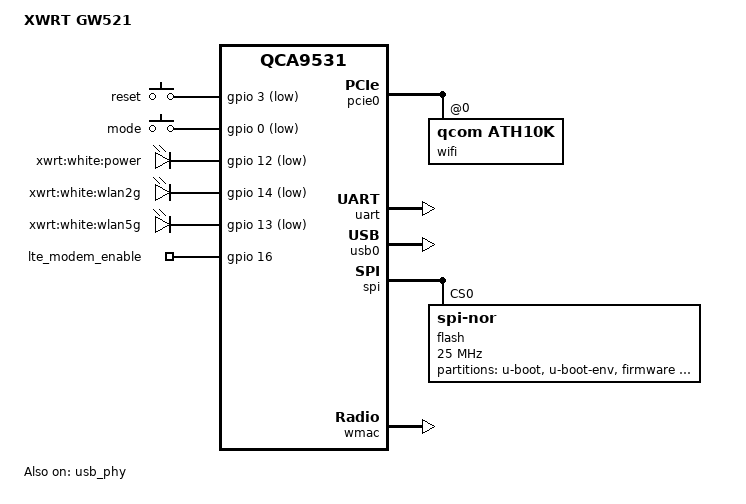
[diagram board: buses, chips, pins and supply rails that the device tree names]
// SPDX-License-Identifier: GPL-2.0-or-later OR MIT
/dts-v1/;

#include <dt-bindings/gpio/gpio.h>
#include <dt-bindings/input/input.h>

#include "qca953x.dtsi"

/ {
	compatible = "xwrt,gw521", "qca,qca9531";
	model = "XWRT GW521";

	aliases {
		label-mac-device = &eth0;
	};

	keys {
		compatible = "gpio-keys";

		pinctrl-names = "default";
		pinctrl-0 = <&jtag_disable_pins>;

		reset {
			label = "reset";
			linux,code = <KEY_RESTART>;
			gpios = <&gpio 3 GPIO_ACTIVE_LOW>;
		};

		mode {
			label = "mode";
			linux,code = <BTN_0>;
			gpios = <&gpio 0 GPIO_ACTIVE_LOW>;
		};
	};

	leds {
		compatible = "gpio-leds";

		power {
			label = "xwrt:white:power";
			gpios = <&gpio 12 GPIO_ACTIVE_LOW>;
			default-state = "on";
		};

		wlan2g {
			label = "xwrt:white:wlan2g";
			gpios = <&gpio 14 GPIO_ACTIVE_LOW>;
			linux,default-trigger = "phy1tpt";
		};

		wlan5g {
			label = "xwrt:white:wlan5g";
			gpios = <&gpio 13 GPIO_ACTIVE_LOW>;
			linux,default-trigger = "phy0tpt";
		};
	};

	gpio_export {
		compatible = "gpio-export";
		#size-cells = <0>;

		lte_modem_enable {
			gpio-export,name = "lte_modem_enable";
			gpio-export,output = <1>;
			gpios = <&gpio 16 GPIO_ACTIVE_HIGH>;
		};
	};
};

&pinmux {
	pinmux_lte_modem_enable {
		pinctrl-single,bits = <0x10 0xff 0x0>;
	};
};

&pcie0 {
	status = "okay";

	wifi@0,0 {
		compatible = "qcom,ath10k";
		reg = <0 0 0 0 0>;
		device_type = "pci";
	};
};

&uart {
	status = "okay";
};

&usb0 {
	status = "okay";
};

&usb_phy {
	status = "okay";
};

&spi {
	status = "okay";
	num-cs = <0>;

	flash@0 {
		compatible = "jedec,spi-nor";
		reg = <0>;
		spi-max-frequency = <25000000>;

		partitions {
			compatible = "fixed-partitions";
			#address-cells = <1>;
			#size-cells = <1>;

			partition@0 {
				label = "u-boot";
				reg = <0x000000 0x040000>;
				read-only;
			};

			partition@40000 {
				label = "u-boot-env";
				reg = <0x040000 0x010000>;
				read-only;
			};

			partition@50000 {
				compatible = "denx,uimage";
				label = "firmware";
				reg = <0x050000 0xfa0000>;
			};

			art: partition@ff0000 {
				label = "art";
				reg = <0xff0000 0x010000>;
			};
		};
	};
};

&eth1 {
	mtd-mac-address = <&art 0x6>;
};

&wmac {
	status = "okay";
	mtd-cal-data = <&art 0x1000>;
};
